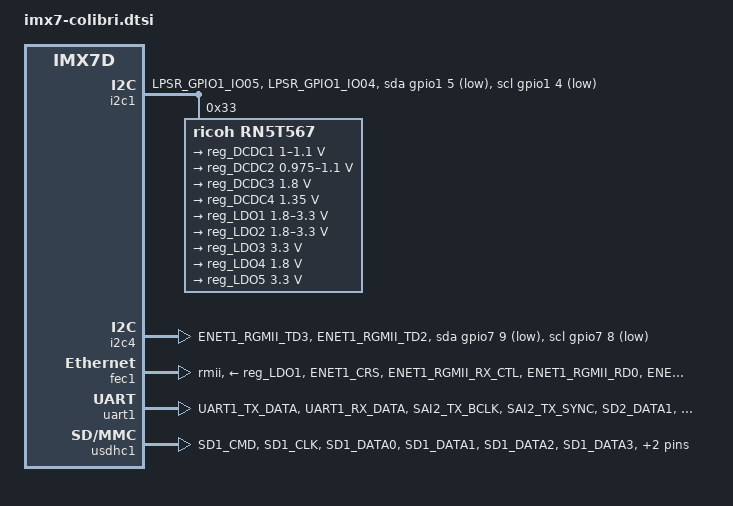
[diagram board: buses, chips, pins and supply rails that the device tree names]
// SPDX-License-Identifier: GPL-2.0+ OR X11
/*
 * Copyright 2016-2019 Toradex AG
 */

/dts-v1/;
#include <dt-bindings/gpio/gpio.h>
#include "imx7d.dtsi"

&i2c1 {
	pinctrl-names = "default", "gpio";
	pinctrl-0 = <&pinctrl_i2c1>;
	pinctrl-1 = <&pinctrl_i2c1_gpio>;
	sda-gpios = <&gpio1 5 GPIO_ACTIVE_LOW>;
	scl-gpios = <&gpio1 4 GPIO_ACTIVE_LOW>;
	status = "okay";

	rn5t567@33 {
		compatible = "ricoh,rn5t567";
		reg = <0x33>;

		regulators {
			reg_DCDC1: DCDC1 {  /* V1.0_SOC */
				regulator-min-microvolt = <1000000>;
				regulator-max-microvolt = <1100000>;
				regulator-boot-on;
				regulator-always-on;
			};

			reg_DCDC2: DCDC2 { /* V1.1_ARM */
				regulator-min-microvolt = <975000>;
				regulator-max-microvolt = <1100000>;
				regulator-boot-on;
				regulator-always-on;
			};

			reg_DCDC3: DCDC3 { /* V1.8 */
				regulator-min-microvolt = <1800000>;
				regulator-max-microvolt = <1800000>;
				regulator-boot-on;
				regulator-always-on;
			};

			reg_DCDC4: DCDC4 { /* V1.35_DRAM */
				regulator-min-microvolt = <1350000>;
				regulator-max-microvolt = <1350000>;
				regulator-boot-on;
				regulator-always-on;
			};

			reg_LDO1: LDO1 { /* PWR_EN_+V3.3_ETH */
				regulator-min-microvolt = <1800000>;
				regulator-max-microvolt = <3300000>;
				regulator-boot-on;
			};

			reg_LDO2: LDO2 { /* +V1.8_SD */
				regulator-min-microvolt = <1800000>;
				regulator-max-microvolt = <3300000>;
				regulator-boot-on;
				regulator-always-on;
			};

			reg_LDO3: LDO3 { /* PWR_EN_+V3.3_LPSR */
				regulator-min-microvolt = <3300000>;
				regulator-max-microvolt = <3300000>;
				regulator-boot-on;
				regulator-always-on;
			};

			reg_LDO4: LDO4 { /* V1.8_LPSR */
				regulator-min-microvolt = <1800000>;
				regulator-max-microvolt = <1800000>;
				regulator-boot-on;
				regulator-always-on;
			};

			reg_LDO5: LDO5 { /* PWR_EN_+V3.3 */
				regulator-min-microvolt = <3300000>;
				regulator-max-microvolt = <3300000>;
				regulator-boot-on;
				regulator-always-on;
			};
		};
	};
};

&i2c4 {
	pinctrl-names = "default", "gpio";
	pinctrl-0 = <&pinctrl_i2c4>;
	pinctrl-1 = <&pinctrl_i2c4_gpio>;
	sda-gpios = <&gpio7 9 GPIO_ACTIVE_LOW>;
	scl-gpios = <&gpio7 8 GPIO_ACTIVE_LOW>;
	status = "okay";
};

&fec1 {
	pinctrl-names = "default", "sleep";
	pinctrl-0 = <&pinctrl_enet1>;
	pinctrl-1 = <&pinctrl_enet1_sleep>;
	clocks = <&clks IMX7D_ENET_AXI_ROOT_CLK>,
		<&clks IMX7D_ENET_AXI_ROOT_CLK>,
		<&clks IMX7D_ENET1_TIME_ROOT_CLK>,
		<&clks IMX7D_PLL_ENET_MAIN_50M_CLK>;
	clock-names = "ipg", "ahb", "ptp", "enet_clk_ref";
	assigned-clocks = <&clks IMX7D_ENET1_TIME_ROOT_SRC>,
			  <&clks IMX7D_ENET1_TIME_ROOT_CLK>;
	assigned-clock-parents = <&clks IMX7D_PLL_ENET_MAIN_100M_CLK>;
	assigned-clock-rates = <0>, <100000000>;
	phy-mode = "rmii";
	phy-supply = <&reg_LDO1>;
	fsl,magic-packet;
	status = "okay";
};

&uart1 {
	pinctrl-names = "default";
	pinctrl-0 = <&pinctrl_uart1 &pinctrl_uart1_ctrl1>;
	uart-has-rtscts;
	fsl,dte-mode;
	status = "okay";
};

&usdhc1 {
	pinctrl-names = "default";
	pinctrl-0 = <&pinctrl_usdhc1 &pinctrl_cd_usdhc1>;
	no-1-8-v;
	cd-gpios = <&gpio1 0 GPIO_ACTIVE_LOW>;
	disable-wp;
	status = "okay";
};

&iomuxc {
	pinctrl_i2c4: i2c4-grp {
		fsl,pins = <
			MX7D_PAD_ENET1_RGMII_TD3__I2C4_SDA	0x4000007f
			MX7D_PAD_ENET1_RGMII_TD2__I2C4_SCL	0x4000007f
		>;
	};

	pinctrl_i2c4_gpio: i2c4-gpio-grp {
			fsl,pins = <
			MX7D_PAD_ENET1_RGMII_TD3__GPIO7_IO9	0x4000007f
			MX7D_PAD_ENET1_RGMII_TD2__GPIO7_IO8	0x4000007f
		>;
	};

	pinctrl_uart1: uart1-grp {
		fsl,pins = <
			MX7D_PAD_UART1_TX_DATA__UART1_DTE_RX	0x79
			MX7D_PAD_UART1_RX_DATA__UART1_DTE_TX	0x79
			MX7D_PAD_SAI2_TX_BCLK__UART1_DTE_CTS	0x79
			MX7D_PAD_SAI2_TX_SYNC__UART1_DTE_RTS	0x79
		>;
	};

	pinctrl_uart1_ctrl1: uart1-ctrl1-grp {
		fsl,pins = <
			MX7D_PAD_SD2_DATA1__GPIO5_IO15		0x14 /* DCD */
			MX7D_PAD_SD2_DATA0__GPIO5_IO14		0x14 /* DTR */
		>;
	};

	pinctrl_usdhc1: usdhc1-grp {
		fsl,pins = <
			MX7D_PAD_SD1_CMD__SD1_CMD	0x59
			MX7D_PAD_SD1_CLK__SD1_CLK	0x19
			MX7D_PAD_SD1_DATA0__SD1_DATA0	0x59
			MX7D_PAD_SD1_DATA1__SD1_DATA1	0x59
			MX7D_PAD_SD1_DATA2__SD1_DATA2	0x59
			MX7D_PAD_SD1_DATA3__SD1_DATA3	0x59
		>;
	};

	pinctrl_lcdif_dat: lcdif-dat-grp {
		fsl,pins = <
			MX7D_PAD_LCD_DATA00__LCD_DATA0		0x79
			MX7D_PAD_LCD_DATA01__LCD_DATA1		0x79
			MX7D_PAD_LCD_DATA02__LCD_DATA2		0x79
			MX7D_PAD_LCD_DATA03__LCD_DATA3		0x79
			MX7D_PAD_LCD_DATA04__LCD_DATA4		0x79
			MX7D_PAD_LCD_DATA05__LCD_DATA5		0x79
			MX7D_PAD_LCD_DATA06__LCD_DATA6		0x79
			MX7D_PAD_LCD_DATA07__LCD_DATA7		0x79
			MX7D_PAD_LCD_DATA08__LCD_DATA8		0x79
			MX7D_PAD_LCD_DATA09__LCD_DATA9		0x79
			MX7D_PAD_LCD_DATA10__LCD_DATA10		0x79
			MX7D_PAD_LCD_DATA11__LCD_DATA11		0x79
			MX7D_PAD_LCD_DATA12__LCD_DATA12		0x79
			MX7D_PAD_LCD_DATA13__LCD_DATA13		0x79
			MX7D_PAD_LCD_DATA14__LCD_DATA14		0x79
			MX7D_PAD_LCD_DATA15__LCD_DATA15		0x79
			MX7D_PAD_LCD_DATA16__LCD_DATA16		0x79
			MX7D_PAD_LCD_DATA17__LCD_DATA17		0x79
		>;
	};

	pinctrl_lcdif_ctrl: lcdif-ctrl-grp {
		fsl,pins = <
			MX7D_PAD_LCD_CLK__LCD_CLK		0x79
			MX7D_PAD_LCD_ENABLE__LCD_ENABLE		0x79
			MX7D_PAD_LCD_VSYNC__LCD_VSYNC		0x79
			MX7D_PAD_LCD_HSYNC__LCD_HSYNC		0x79
		>;
	};

	pinctrl_enet1: enet1grp {
		fsl,pins = <
			MX7D_PAD_ENET1_CRS__GPIO7_IO14			0x14
			MX7D_PAD_ENET1_RGMII_RX_CTL__ENET1_RGMII_RX_CTL	0x73
			MX7D_PAD_ENET1_RGMII_RD0__ENET1_RGMII_RD0	0x73
			MX7D_PAD_ENET1_RGMII_RD1__ENET1_RGMII_RD1	0x73
			MX7D_PAD_ENET1_RGMII_RXC__ENET1_RX_ER		0x73

			MX7D_PAD_ENET1_RGMII_TX_CTL__ENET1_RGMII_TX_CTL	0x73
			MX7D_PAD_ENET1_RGMII_TD0__ENET1_RGMII_TD0	0x73
			MX7D_PAD_ENET1_RGMII_TD1__ENET1_RGMII_TD1	0x73
			MX7D_PAD_GPIO1_IO12__CCM_ENET_REF_CLK1		0x73
			MX7D_PAD_SD2_CD_B__ENET1_MDIO			0x3
			MX7D_PAD_SD2_WP__ENET1_MDC			0x3
		>;
	};

	pinctrl_enet1_sleep: enet1sleepgrp {
		fsl,pins = <
			MX7D_PAD_ENET1_RGMII_RX_CTL__GPIO7_IO4		0x0
			MX7D_PAD_ENET1_RGMII_RD0__GPIO7_IO0		0x0
			MX7D_PAD_ENET1_RGMII_RD1__GPIO7_IO1		0x0
			MX7D_PAD_ENET1_RGMII_RXC__GPIO7_IO5		0x0

			MX7D_PAD_ENET1_RGMII_TX_CTL__GPIO7_IO10		0x0
			MX7D_PAD_ENET1_RGMII_TD0__GPIO7_IO6		0x0
			MX7D_PAD_ENET1_RGMII_TD1__GPIO7_IO7		0x0
			MX7D_PAD_GPIO1_IO12__GPIO1_IO12			0x0
			MX7D_PAD_SD2_CD_B__GPIO5_IO9			0x0
			MX7D_PAD_SD2_WP__GPIO5_IO10			0x0
		>;
	};
};

&iomuxc_lpsr {
	pinctrl_i2c1: i2c1-grp {
		fsl,pins = <
			MX7D_PAD_LPSR_GPIO1_IO05__I2C1_SDA	0x4000007f
			MX7D_PAD_LPSR_GPIO1_IO04__I2C1_SCL	0x4000007f
		>;
	};

	pinctrl_i2c1_gpio: i2c1-gpio-grp {
		fsl,pins = <
			MX7D_PAD_LPSR_GPIO1_IO05__GPIO1_IO5	0x4000007f
			MX7D_PAD_LPSR_GPIO1_IO04__GPIO1_IO4	0x4000007f
		>;
	};

	pinctrl_cd_usdhc1: usdhc1-cd-grp {
		fsl,pins = <
			MX7D_PAD_LPSR_GPIO1_IO00__GPIO1_IO0	0x59 /* CD */
		>;
	};
};
